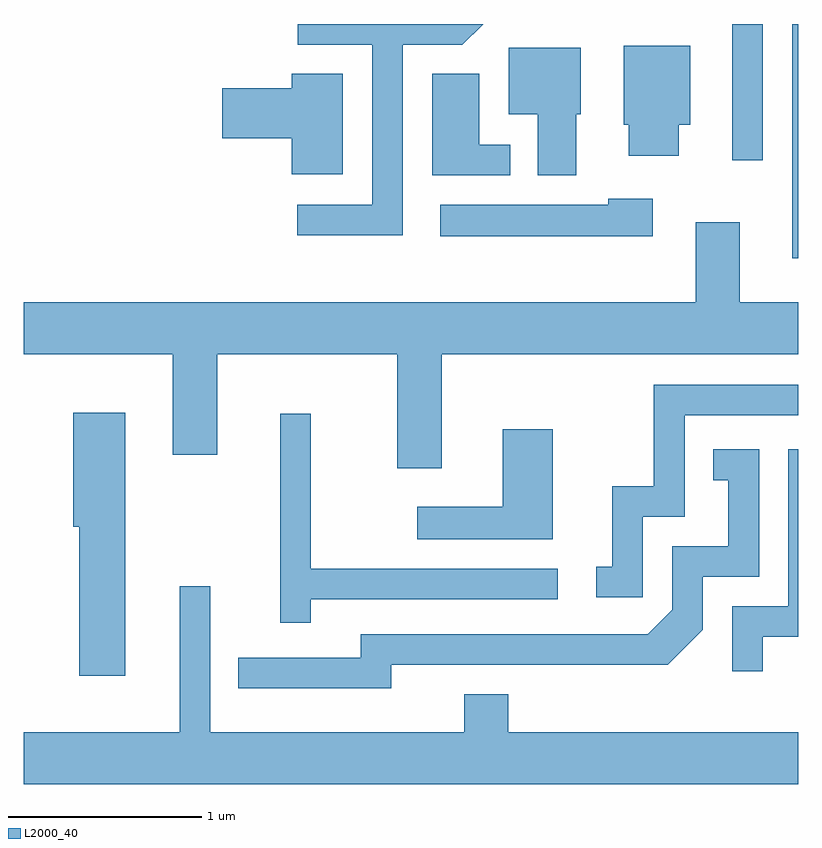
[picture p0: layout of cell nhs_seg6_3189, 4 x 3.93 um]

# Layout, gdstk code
import gdstk
lib = gdstk.Library(unit=1e-6, precision=1e-09)
def R(c, l, rs):  # rectangles x0, y0, x1, y1
    for r in rs: c.add(gdstk.rectangle(r[:2], r[2:], *l))
def P(c, l, *ps):  # polygons
    for p in ps: c.add(gdstk.Polygon(p, *l))
L2000_40 = (2000, 40)

nhs_seg6_3189 = lib.new_cell('nhs_seg6_3189')
R(nhs_seg6_3189, L2000_40, [(285.581,1574.951,285.611,1576.162), (285.271,1575.458,285.429,1576.162)])
P(nhs_seg6_3189, L2000_40, [(283.569,1576.056),(283.877,1576.056),(283.983,1576.162),(283.026,1576.162),(283.026,1576.056),(283.411,1576.056),(283.411,1575.229),(283.023,1575.229),(283.023,1575.071),(283.569,1575.071)],
  [(284.994,1575.641),(285.054,1575.641),(285.054,1576.049),(284.711,1576.049),(284.711,1575.641),(284.736,1575.641),(284.736,1575.481),(284.994,1575.481)],
  [(284.464,1575.696),(284.489,1575.696),(284.489,1576.039),(284.116,1576.039),(284.116,1575.696),(284.266,1575.696),(284.266,1575.381),(284.464,1575.381)],
  [(284.123,1575.539),(283.964,1575.539),(283.964,1575.904),(283.721,1575.904),(283.721,1575.381),(284.123,1575.381)],
  [(283.259,1575.904),(282.996,1575.904),(282.996,1575.829),(282.636,1575.829),(282.636,1575.571),(282.996,1575.571),(282.996,1575.386),(283.259,1575.386)],
  [(284.859,1575.259),(284.631,1575.259),(284.631,1575.229),(283.763,1575.229),(283.763,1575.066),(284.859,1575.066)],
  [(283.769,1574.456),(285.611,1574.456),(285.611,1574.724),(285.309,1574.724),(285.309,1575.139),(285.081,1575.139),(285.081,1574.724),(281.611,1574.724),(281.611,1574.456),(282.381,1574.456),(282.381,1573.936),(282.609,1573.936),(282.609,1574.456),(283.541,1574.456),(283.541,1573.866),(283.769,1573.866)],
  [(284.809,1573.616),(285.024,1573.616),(285.024,1574.141),(285.611,1574.141),(285.611,1574.299),(284.866,1574.299),(284.866,1573.774),(284.651,1573.774),(284.651,1573.359),(284.568,1573.359),(284.568,1573.201),(284.809,1573.201)],
  [(282.134,1574.154),(281.866,1574.154),(281.866,1573.566),(281.896,1573.566),(281.896,1572.796),(282.134,1572.796)],
  [(283.094,1573.191),(284.368,1573.191),(284.368,1573.349),(283.094,1573.349),(283.094,1574.148),(282.936,1574.148),(282.936,1573.068),(283.094,1573.068)],
  [(284.344,1574.069),(284.086,1574.069),(284.086,1573.669),(283.643,1573.669),(283.643,1573.501),(284.344,1573.501)],
  [(283.509,1572.851),(284.937,1572.851),(285.119,1573.034),(285.119,1573.306),(285.409,1573.306),(285.409,1573.964),(285.173,1573.964),(285.173,1573.806),(285.251,1573.806),(285.251,1573.464),(284.961,1573.464),(284.961,1573.137),(284.834,1573.009),(283.351,1573.009),(283.351,1572.889),(282.718,1572.889),(282.718,1572.731),(283.509,1572.731)],
  [(285.429,1572.996),(285.611,1572.996),(285.611,1573.964),(285.561,1573.964),(285.561,1573.154),(285.271,1573.154),(285.271,1572.818),(285.429,1572.818)],
  [(285.611,1572.504),(284.114,1572.504),(284.114,1572.699),(283.886,1572.699),(283.886,1572.504),(282.574,1572.504),(282.574,1573.258),(282.416,1573.258),(282.416,1572.504),(281.611,1572.504),(281.611,1572.236),(285.611,1572.236)])

lib.write_gds('nhs_seg6_3189.gds')
